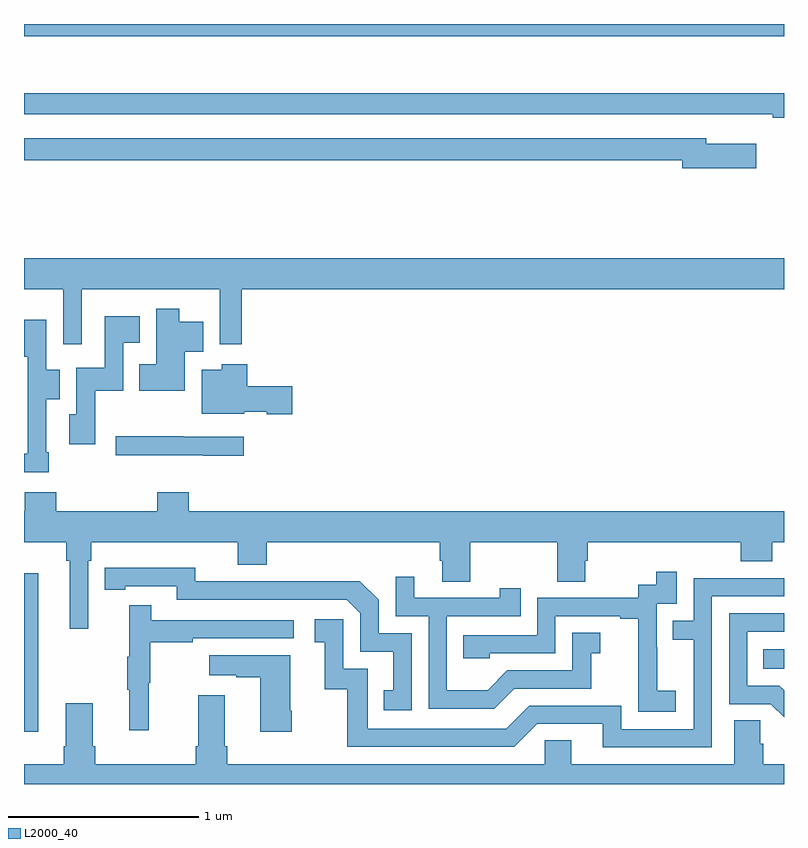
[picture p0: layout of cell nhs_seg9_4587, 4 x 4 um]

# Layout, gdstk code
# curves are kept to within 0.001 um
import gdstk
lib = gdstk.Library(unit=1e-6, precision=1e-09)
def R(c, l, rs):  # rectangles x0, y0, x1, y1
    for r in rs: c.add(gdstk.rectangle(r[:2], r[2:], *l))
def P(c, l, *ps):  # polygons
    for p in ps: c.add(gdstk.Polygon(p, *l))
L2000_40 = (2000, 40)

nhs_seg9_4587 = lib.new_cell('nhs_seg9_4587')
R(nhs_seg9_4587, L2000_40, [(375,1176.774,375.076,1177.609), (378.892,1177.106,379,1177.21), (375,1180.436,379,1180.5)])
P(nhs_seg9_4587, L2000_40, [(379,1180.135),(375,1180.135),(375,1180.026),(378.688,1180.026),(378.688,1180.025),(378.94,1180.025),(378.94,1180.006),(379,1180.006)],
  [(378.853,1179.871),(378.592,1179.871),(378.592,1179.9),(375,1179.9),(375,1179.784),(378.464,1179.784),(378.464,1179.742),(378.853,1179.742)],
  [(375.303,1179.104),(376.029,1179.104),(376.029,1178.814),(376.145,1178.814),(376.145,1179.104),(379,1179.104),(379,1179.268),(375,1179.268),(375,1179.104),(375.207,1179.104),(375.207,1178.814),(375.303,1178.814)],
  [(375.847,1178.774),(375.944,1178.774),(375.944,1178.932),(375.817,1178.932),(375.817,1179.001),(375.695,1179.001),(375.695,1178.71),(375.607,1178.71),(375.607,1178.57),(375.847,1178.57)],
  [(375.375,1178.57),(375.522,1178.57),(375.522,1178.822),(375.61,1178.822),(375.61,1178.962),(375.426,1178.962),(375.426,1178.692),(375.276,1178.692),(375.276,1178.445),(375.239,1178.445),(375.239,1178.289),(375.375,1178.289)],
  [(375.13,1178.245),(375.117,1178.245),(375.117,1178.524),(375.187,1178.524),(375.187,1178.679),(375.117,1178.679),(375.117,1178.944),(375,1178.944),(375,1178.846),(375.001,1178.846),(375.001,1178.75),(375.021,1178.75),(375.021,1178.435),(375.02,1178.435),(375.02,1178.238),(375,1178.238),(375,1178.142),(375.13,1178.142)],
  [(376.411,1178.594),(376.175,1178.594),(376.175,1178.71),(376.04,1178.71),(376.04,1178.68),(375.935,1178.68),(375.935,1178.45),(376.158,1178.45),(376.158,1178.459),(376.278,1178.459),(376.278,1178.447),(376.411,1178.447)],
  [(376.156,1178.328),(375.839,1178.328),(375.839,1178.331),(375.483,1178.331),(375.483,1178.231),(375.943,1178.231),(375.943,1178.227),(376.156,1178.227)],
  [(376.124,1177.655),(376.277,1177.655),(376.277,1177.772),(377.189,1177.772),(377.189,1177.674),(377.201,1177.674),(377.201,1177.564),(377.349,1177.564),(377.349,1177.772),(377.806,1177.772),(377.806,1177.564),(377.953,1177.564),(377.953,1177.674),(377.966,1177.674),(377.966,1177.772),(378.773,1177.772),(378.773,1177.673),(378.938,1177.673),(378.938,1177.772),(379,1177.772),(379,1177.936),(375.866,1177.936),(375.866,1178.035),(375.701,1178.035),(375.701,1177.936),(375.17,1177.936),(375.17,1178.035),(375.005,1178.035),(375.005,1177.936),(375,1177.936),(375,1177.772),(375.223,1177.772),(375.223,1177.676),(375.242,1177.676),(375.242,1177.317),(375.339,1177.317),(375.339,1177.676),(375.353,1177.676),(375.353,1177.772),(376.124,1177.772)],
  [(377.04,1177.293),(376.866,1177.293),(376.866,1177.47),(376.768,1177.568),(376.36,1177.568),(376.36,1177.566),(375.9,1177.566),(375.9,1177.639),(375.424,1177.638),(375.424,1177.522),(375.532,1177.522),(375.532,1177.542),(375.804,1177.542),(375.804,1177.47),(376.698,1177.47),(376.77,1177.398),(376.77,1177.197),(376.943,1177.197),(376.943,1176.993),(376.894,1176.993),(376.894,1176.888),(377.04,1176.888)],
  [(378.43,1176.991),(378.332,1176.991),(378.332,1177.22),(378.33,1177.22),(378.33,1177.449),(378.435,1177.449),(378.435,1177.618),(378.327,1177.618),(378.327,1177.548),(378.234,1177.548),(378.234,1177.479),(377.7,1177.479),(377.7,1177.284),(377.311,1177.284),(377.311,1177.161),(377.451,1177.161),(377.451,1177.188),(377.796,1177.188),(377.796,1177.383),(378.137,1177.383),(378.137,1177.371),(378.233,1177.371),(378.233,1177.087),(378.232,1177.087),(378.232,1176.881),(378.43,1176.881)],
  [(377.581,1177.002),(377.985,1177.002),(377.985,1177.187),(378.034,1177.187),(378.034,1177.297),(377.886,1177.297),(377.886,1177.098),(377.544,1177.098),(377.44,1176.994),(377.226,1176.994),(377.226,1177.383),(377.615,1177.383),(377.615,1177.531),(377.504,1177.531),(377.504,1177.479),(377.053,1177.479),(377.053,1177.591),(376.956,1177.591),(376.956,1177.383),(377.13,1177.383),(377.13,1176.897),(377.476,1176.897)],
  [(378.621,1177.488),(379,1177.488),(379,1177.584),(378.525,1177.584),(378.525,1177.359),(378.415,1177.359),(378.415,1177.258),(378.525,1177.258),(378.525,1176.789),(378.144,1176.789),(378.144,1176.912),(377.658,1176.912),(377.538,1176.792),(376.809,1176.792),(376.809,1177.107),(376.68,1177.107),(376.68,1177.366),(376.53,1177.366),(376.53,1177.245),(376.583,1177.245),(376.583,1176.999),(376.701,1176.999),(376.701,1176.696),(377.58,1176.696),(377.7,1176.816),(378.047,1176.816),(378.047,1176.693),(378.621,1176.693)],
  [(375.656,1177.032),(375.664,1177.032),(375.664,1177.246),(375.887,1177.246),(375.887,1177.266),(376.42,1177.266),(376.42,1177.362),(375.671,1177.362),(375.671,1177.441),(375.554,1177.441),(375.554,1177.169),(375.543,1177.169),(375.543,1176.995),(375.554,1176.995),(375.554,1176.783),(375.656,1176.783)],
  [(379,1176.993),(378.976,1177.017),(378.807,1177.017),(378.807,1177.302),(379,1177.302),(379,1177.398),(378.711,1177.398),(378.711,1176.921),(378.93,1176.921),(379,1176.852)],
  [(376.41,1176.886),(376.402,1176.886),(376.402,1177.177),(375.975,1177.177),(375.975,1177.073),(376.118,1177.073),(376.118,1177.063),(376.244,1177.063),(376.244,1176.774),(376.41,1176.774)],
  [(379,1176.604),(378.89,1176.604),(378.89,1176.713),(378.876,1176.713),(378.876,1176.836),(378.737,1176.836),(378.737,1176.604),(377.881,1176.604),(377.881,1176.731),(377.742,1176.731),(377.742,1176.604),(376.07,1176.604),(376.07,1176.7),(376.057,1176.7),(376.057,1176.967),(375.917,1176.967),(375.917,1176.7),(375.905,1176.7),(375.905,1176.604),(375.374,1176.604),(375.374,1176.7),(375.361,1176.7),(375.361,1176.925),(375.221,1176.925),(375.221,1176.7),(375.209,1176.7),(375.209,1176.604),(375,1176.604),(375,1176.5),(379,1176.5)])

lib.write_gds('nhs_seg9_4587.gds')
